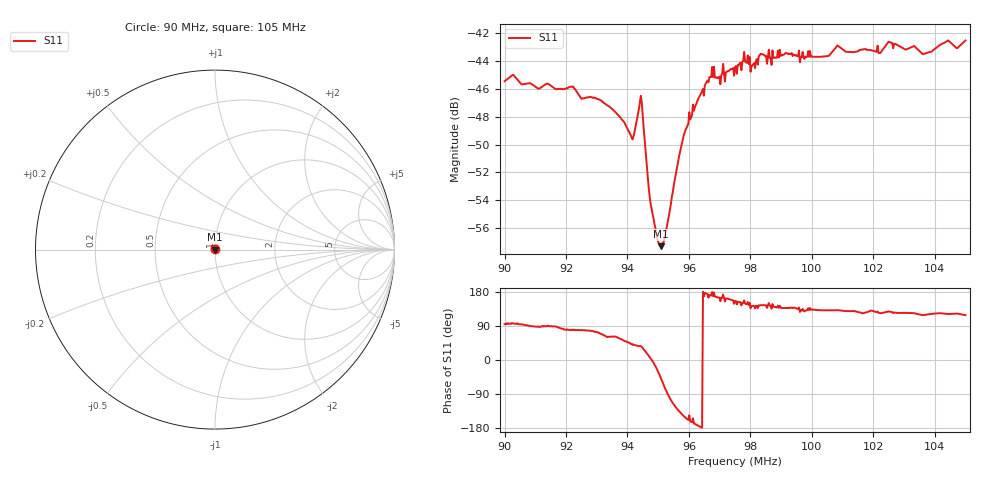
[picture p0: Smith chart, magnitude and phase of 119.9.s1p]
# HZ S RI R 50
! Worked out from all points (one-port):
!   505 points, 90 MHz to 105 MHz, reference 50 ohm
!   lowest |S11| = -57.3 dB at 95.09 MHz (marker M1), VSWR 1.00, Z = 50.1 - j0.103 ohm
!   |S11| at or under -10 dB: start of sweep to end of sweep
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9e7  -0.000437 0.00533
9.026786e7  -0.000628 0.0056
9.187501e7  0.000664 0.00497
9.309525e7  0.00156 0.00432
9.375001e7  0.00219 0.00333
9.416668e7  0.00253 0.00212
9.443454e7  0.00381 0.00282
9.449406e7  0.00343 0.00213
9.467263e7  0.00227 0.000531
9.476192e7  0.00191 0.000107
9.497025e7  0.00131 -0.000635
9.50893e7  0.000898 -0.00103
9.523811e7  0.000331 -0.00148
9.562502e7  -0.00172 -0.00203
9.607145e7  -0.00378 -0.00117
9.675597e7  -0.00602 5.79e-05
9.696431e7  -0.00534 0.00142
9.750002e7  -0.00548 0.00247
9.785717e7  -0.00529 0.00333
9.80655e7  -0.00481 0.00374
9.836312e7  -0.00549 0.00386
9.937503e7  -0.00481 0.0045
1.0125e8  -0.00429 0.00529
1.022322e8  -0.00371 0.00564
1.025298e8  -0.00452 0.00586
1.03125e8  -0.00393 0.00579
1.036608e8  -0.00324 0.00588
1.05e8  -0.00357 0.00659
